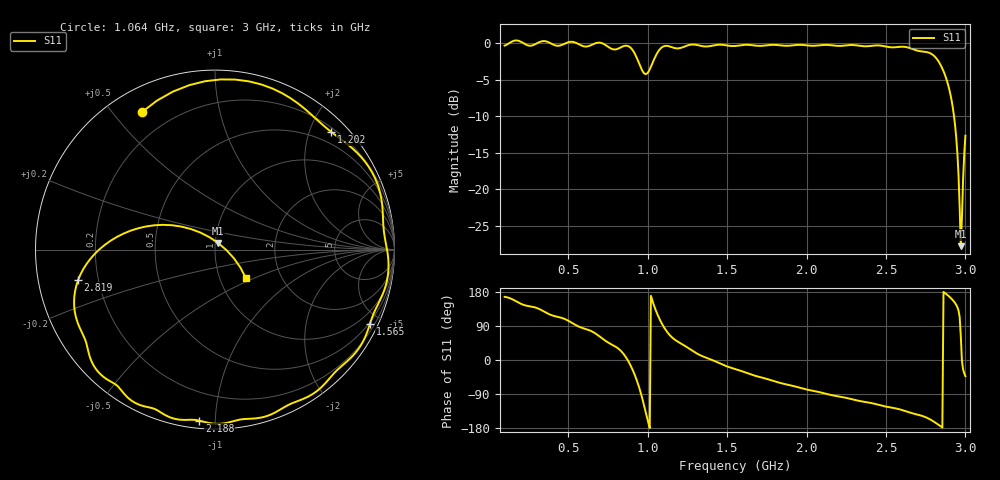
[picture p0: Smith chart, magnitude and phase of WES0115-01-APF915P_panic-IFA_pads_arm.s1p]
! openEMS-z2labs kicad_sim, WES0115-01-APF915P_panic-IFA.kicad_pcb
! ports: 1=SMA5 (F.Cu over B.Cu)
! stackup: file
! copper: sheet, mask: False
# Hz S RI R 50
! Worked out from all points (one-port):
!   401 points, 100 MHz to 3 GHz, reference 50 ohm
!   lowest |S11| = -27.8 dB at 2.971 GHz (marker M1), VSWR 1.08, Z = 51.7 + j3.79 ohm
!   |S11| at or under -10 dB: 2.928 GHz to end of sweep
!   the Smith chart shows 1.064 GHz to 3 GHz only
!   S11 on the Smith chart (normalised r, x): 1.064 GHz: 0.10, +0.60; 1.202 GHz: 0.27, +2.37; 1.565 GHz: 0.44, -4.37; 2.188 GHz: 0.04, -0.91; 2.819 GHz: 0.12, -0.11; 3 GHz: 1.33, -0.44
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1e8  -0.9342 0.2216
3.175e8  -0.7116 0.7209
4.625e8  -0.3436 0.9094
5.2775e8  -0.1245 1.011
6.8e8  0.3816 0.9263
8.25e8  0.8262 0.4177
8.9025e8  0.9124 -0.1998
9.265e8  0.5517 -0.5999
9.555e8  0.0628 -0.6837
9.845e8  -0.4082 -0.4581
1.0135e9  -0.6602 -0.00182
1.03525e9  -0.6479 0.3751
1.06425e9  -0.4078 0.7655
1.10775e9  0.1131 0.9472
1.1875e9  0.6019 0.6933
1.202e9  0.6473 0.6559
1.31075e9  0.9268 0.2829
1.55e9  0.8736 -0.3831
1.5645e9  0.8637 -0.4129
1.9125e9  0.3589 -0.8943
2.188e9  -0.0867 -0.9528
2.275e9  -0.2082 -0.9459
2.6375e9  -0.6813 -0.6362
2.81875e9  -0.7626 -0.1696
2.913e9  -0.3849 0.1288
2.93475e9  -0.2398 0.1358
2.971e9  0.0177 0.0367
3e9  0.171 -0.1568
